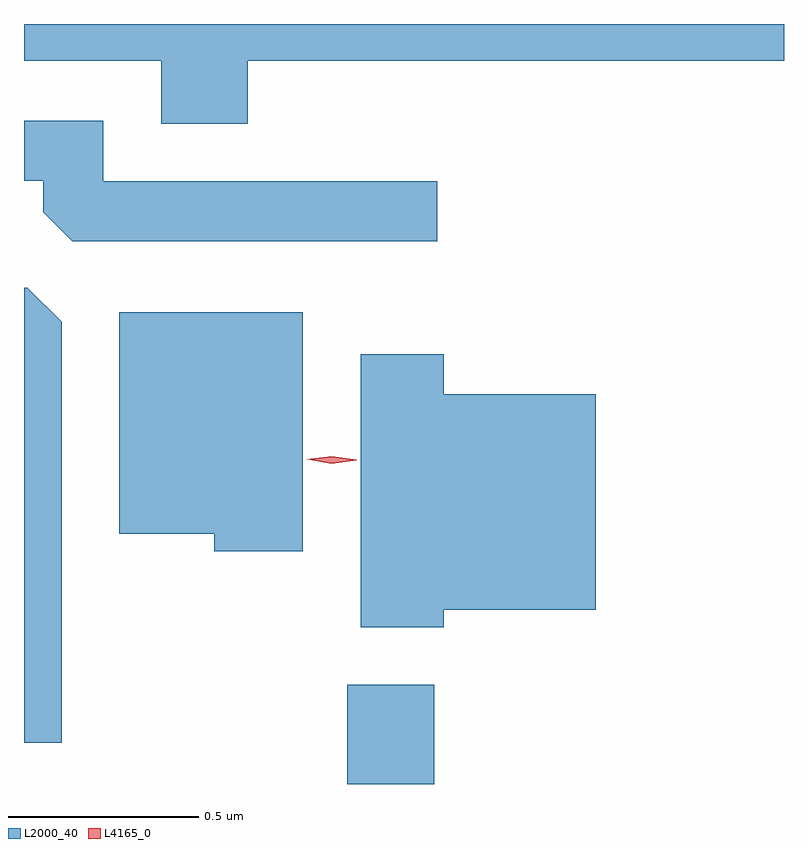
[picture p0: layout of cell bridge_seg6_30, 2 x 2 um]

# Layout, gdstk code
import gdstk
lib = gdstk.Library(unit=1e-6, precision=1e-09)
def R(c, l, rs):  # rectangles x0, y0, x1, y1
    for r in rs: c.add(gdstk.rectangle(r[:2], r[2:], *l))
def P(c, l, *ps):  # polygons
    for p in ps: c.add(gdstk.Polygon(p, *l))
L2000_40 = (2000, 40)
L4165_0 = (4165, 0)

bridge_seg6_30 = lib.new_cell('bridge_seg6_30')
R(bridge_seg6_30, L2000_40, [(1816.601,1652.473,1816.829,1652.734)])
P(bridge_seg6_30, L2000_40, [(1816.339,1654.376),(1817.75,1654.376),(1817.75,1654.473),(1815.75,1654.473),(1815.75,1654.376),(1816.111,1654.376),(1816.111,1654.211),(1816.339,1654.211)],
  [(1816.838,1654.059),(1815.959,1654.059),(1815.959,1654.219),(1815.75,1654.219),(1815.75,1654.061),(1815.801,1654.061),(1815.801,1653.977),(1815.877,1653.901),(1816.838,1653.901)],
  [(1815.849,1653.689),(1815.759,1653.779),(1815.75,1653.779),(1815.75,1652.581),(1815.849,1652.581)],
  [(1816.484,1653.714),(1816.001,1653.714),(1816.001,1653.131),(1816.251,1653.131),(1816.251,1653.086),(1816.484,1653.086)],
  [(1816.854,1652.931),(1817.254,1652.931),(1817.254,1653.499),(1816.854,1653.499),(1816.854,1653.604),(1816.636,1653.604),(1816.636,1652.886),(1816.854,1652.886)])
P(bridge_seg6_30, L4165_0, [(1816.56,1653.316),(1816.494,1653.327),(1816.493,1653.328),(1816.494,1653.328),(1816.56,1653.336),(1816.626,1653.326),(1816.626,1653.325),(1816.626,1653.325)])

lib.write_gds('bridge_seg6_30.gds')
